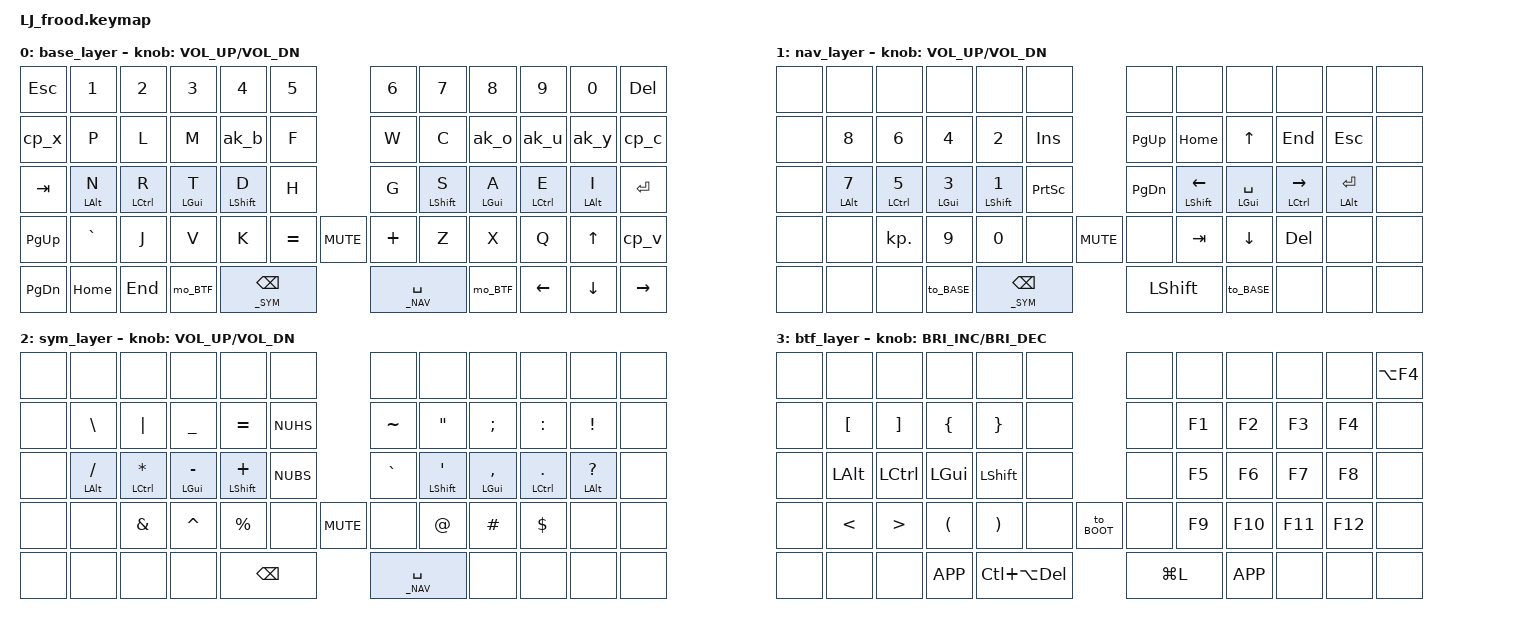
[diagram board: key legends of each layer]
/*
 * Copyright (c) 2021 The ZMK Contributors
 *
 * SPDX-License-Identifier: MIT
 */

#include <behaviors.dtsi>
#include <dt-bindings/zmk/keys.h>
// #include <dt-bindings/zmk/bt.h>
// #include <dt-bindings/zmk/outputs.h>
#include <dt-bindings/zmk/pointing.h>
#include <dt-bindings/zmk/rgb.h>
// #include <dt-bindings/zmk/ext_power.h>
#include "keypos_34keys.h"

#define _BASE    0
#define _NAV     1
#define _SYM     2
#define _BTF     3
#define _MOUS    4

#define RGB_BASE RGB_COLOR_HSB(10,100,30)
#define RGB_SYM RGB_COLOR_HSB(20,100,50)
#define RGB_NAV RGB_COLOR_HSB(40,80,50)
#define RGB_BTF RGB_COLOR_HSB(180,100,60)
#define RGB_MOUS RGB_COLOR_HSB(100,100,60)

/ {

// ------------------------- MACROS --------------------------------
    macros {
        to_BASE: to_BASE {
            compatible = "zmk,behavior-macro";
            #binding-cells = <0>;
            wait-ms = <0>;
            tap-ms = <0>;
            bindings
                = <&rgb_ug RGB_BASE>
                , <&tog _NAV>
                ;
        };

        to_NAV: to_NAV {
            compatible = "zmk,behavior-macro";
            #binding-cells = <0>;
            wait-ms = <0>;
            tap-ms = <0>;
            bindings
                = <&rgb_ug RGB_NAV>
                , <&tog _NAV>
                ;
        };

        mo_BTF: mo_BTF {
            compatible = "zmk,behavior-macro";
            #binding-cells = <0>;
            wait-ms = <0>;
            tap-ms = <0>;
            bindings
                = <&macro_tap &rgb_ug RGB_BTF>
                , <&macro_press &mo _BTF>
                , <&macro_pause_for_release>
                , <&macro_tap &rgb_ug RGB_BASE>
                , <&macro_release &mo _BTF>
                ;
        };

        mo_MOUS: mo_MOUS {
            compatible = "zmk,behavior-macro";
            #binding-cells = <0>;
            wait-ms = <0>;
            tap-ms = <0>;
            bindings
                = <&macro_tap &rgb_ug RGB_MOUS>
                , <&macro_press &mo _MOUS>
                , <&macro_pause_for_release>
                , <&macro_tap &rgb_ug RGB_BASE>
                , <&macro_release &mo _MOUS>
                ;
        };

        to_BOOT: to_BOOT {
            compatible = "zmk,behavior-macro";
            #binding-cells = <0>;
            bindings
                = <&rgb_ug RGB_COLOR_HSB(0,100,100)>
                , <&rgb_ug RGB_ON>
                , <&bootloader>
                ;
        };

        mlc_ou: macro_lc_ou {
            compatible = "zmk,behavior-macro";
            #binding-cells = <0>;
            wait-ms = <0>;
            tap-ms = <5>;
            bindings
                = <&kp O>
                , <&kp U>
                ;
        };

        // muc_the: macro_uc_the {
        //     compatible = "zmk,behavior-macro";
        //     #binding-cells = <0>;
        //     wait-ms = <0>;
        //     tap-ms = <5>;
        //     bindings
        //         = <&kp LS(T)>
        //         , <&kp H>
        //         , <&kp E>
        //         ;
        // };

        // mlc_the: macro_lc_the {
        //     compatible = "zmk,behavior-macro";
        //     #binding-cells = <0>;
        //     wait-ms = <0>;
        //     tap-ms = <5>;
        //     bindings
        //         = <&kp T>
        //         , <&kp H>
        //         , <&kp E>
        //         ;
        // };

        mlc_qu: macro_lc_qu {
            compatible = "zmk,behavior-macro";
            #binding-cells = <0>;
            wait-ms = <0>;
            tap-ms = <5>;
            bindings
                = <&kp Q>
                , <&kp U>
                ;
        };

        // mlc_gh: macro_lc_gh {
        //     compatible = "zmk,behavior-macro";
        //     #binding-cells = <0>;
        //     wait-ms = <0>;
        //     tap-ms = <5>;
        //     bindings
        //         = <&kp G>
        //         , <&kp H>
        //         ;
        // };

        // mlc_ing: macro_lc_ing {
        //     compatible = "zmk,behavior-macro";
        //     #binding-cells = <0>;
        //     wait-ms = <0>;
        //     tap-ms = <5>;
        //     bindings
        //         = <&kp I>
        //         , <&kp N>
        //         , <&kp G>
        //         ;
        // };
    };

    combos {
        compatible = "zmk,combos";
// ------------------------- LAYER COMBOS --------------------------------
        // combo_BOOT {
        //     timeout-ms = <50>;
        //     key-positions = <0 11>;
        //     bindings = <&to_BOOT>;
        // };

        // combo_BTF {
        //     timeout-ms = <50>;
        //     key-positions = <LHO RHO>;
        //     bindings = <&mo_BTF>;
        // };

        // combo_NAVR {
        //     timeout-ms = <50>;
        //     key-positions = <RMP RHI>;
        //     bindings = <&to_NAV>;
        //     layers = <_BASE>;
        // };

        // combo_BASER {
        //     timeout-ms = <50>;
        //     key-positions = <RMP RHI>;
        //     bindings = <&to_BASE>;
        //     layers = <_NAV>;
        // };

        // combo_NAV {
        //     timeout-ms = <50>;
        //     key-positions = <52 55>;
        //     bindings = <&to_NAV>;
        //     layers = <_BASE>;
        // };

        // combo_BASE {
        //     timeout-ms = <50>;
        //     key-positions = <52 55>;
        //     bindings = <&to_BASE>;
        //     layers = <_NAV>;
        // };

// ------------------------- MODS COMBOS --------------------------------
        combo_CAPS {
            timeout-ms = <50>;
            key-positions = <LTI RTI>;
            bindings = <&caps_word>;
            require-prior-idle-ms = <250>;
            layers = <_BASE>;
        };

// ------------------------- SYMBOL COMBOS --------------------------------
        combo_LPAR {
            timeout-ms = <50>;
            require-prior-idle-ms = <200>;
            key-positions = <LHI LMI>;
            bindings = <&kp LPAR>;
            layers = <_BASE _SYM>;
        };

        combo_RPAR {
            timeout-ms = <50>;
            require-prior-idle-ms = <200>;
            key-positions = <RMI RHI>;
            bindings = <&kp RPAR>;
            layers = <_BASE _SYM>;
        };

        combo_LBRC {
            timeout-ms = <50>;
            require-prior-idle-ms = <200>;
            key-positions = <LMM LHI>;
            bindings = <&kp LBRC>;
            layers = <_BASE _SYM>;
        };

        combo_RBRC {
            timeout-ms = <50>;
            require-prior-idle-ms = <200>;
            key-positions = <RMM RHI>;
            bindings = <&kp RBRC>;
            layers = <_BASE _SYM>;
        };

        combo_LBKT {
            timeout-ms = <50>;
            require-prior-idle-ms = <200>;
            key-positions = <LMR LHI>;
            bindings = <&kp LBKT>;
            layers = <_BASE _SYM>;
        };

        combo_RBKT {
            timeout-ms = <50>;
            require-prior-idle-ms = <200>;
            key-positions = <RMR RHI>;
            bindings = <&kp RBKT>;
            layers = <_BASE _SYM>;
        };

        combo_GT {
            timeout-ms = <50>;
            require-prior-idle-ms = <200>;
            key-positions = <RMP RHI>;
            bindings = <&kp GT>;
            layers = <_BASE _SYM>;
        };

        combo_LT {
            timeout-ms = <50>;
            require-prior-idle-ms = <200>;
            key-positions = <LMP LHI>;
            bindings = <&kp LT>;
            layers = <_BASE _SYM>;
        };

// ------------------------- CHARACTER COMBOS --------------------------------
        combo_QU {
            timeout-ms = <300>;
            key-positions = <RBM RBI>;
            bindings = <&mlc_qu>;
            layers = <_BASE>;
        };

        // combo_F {
        //     timeout-ms = <40>;
        //     require-prior-idle-ms = <125>;
        //     key-positions = <LTI LTM>;
        //     bindings = <&kp F>;
        //     layers = <_BASE>;
        // };

        // combo_H {
        //     timeout-ms = <40>;
        //     require-prior-idle-ms = <125>;
        //     key-positions = <LMI LMM>;
        //     bindings = <&kp H>;
        //     layers = <_BASE>;
        // };

        // combo_G {
        //     timeout-ms = <40>;
        //     require-prior-idle-ms = <125>;
        //     key-positions = <RMM RMI>;
        //     bindings = <&kp G>;
        //     layers = <_BASE>;
        // };

        // combo_W {
        //     timeout-ms = <40>;
        //     require-prior-idle-ms = <125>;
        //     key-positions = <RTI RTM>;
        //     bindings = <&kp W>;
        //     layers = <_BASE>;
        // };
    };

    behaviors {
// ------------------------- ENCODER -----------------------------------
        rot_kp: sensor_rotate_kp {
            compatible = "zmk,behavior-sensor-rotate-var";
            #sensor-binding-cells = <2>;
            bindings = <&kp>, <&kp>;
        };

// ------------------------- TAP-DANCES --------------------------------
        cp_c: cp_c {
            compatible = "zmk,behavior-tap-dance";
            #binding-cells = <0>;
            tapping-term-ms = <400>;
            bindings = <&kp LC(C)>, <&kp LG(C)>;
        };

        cp_v: cp_v {
            compatible = "zmk,behavior-tap-dance";
            #binding-cells = <0>;
            tapping-term-ms = <400>;
            bindings = <&kp LC(V)>, <&kp LG(V)>;
        };

        cp_x: cp_x {
            compatible = "zmk,behavior-tap-dance";
            #binding-cells = <0>;
            tapping-term-ms = <400>;
            bindings = <&kp LC(X)>, <&kp LG(X)>;
        };

        app_lock: app_lock {
            compatible = "zmk,behavior-tap-dance";
            #binding-cells = <0>;
            tapping-term-ms = <400>;
            bindings = <&kp K_APP>, <&kp LG(L)>, <&kp LC(LA(DEL))>;
        };

// ------------------------- HOLD-TAPS --------------------------------
        /* left-hand HRMs */
        hml: hrm_left {
            compatible = "zmk,behavior-hold-tap";
            #binding-cells = <2>;
            flavor = "balanced";
            tapping-term-ms = <300>;
            quick-tap-ms = <170>;                // repeat on tap-into-hold
            require-prior-idle-ms = <250>;
            bindings = <&kp>, <&kp>;
            hold-trigger-key-positions = <KEYS_R THUMBS>;
            hold-trigger-on-release;             // delay positional check until key-release
        };

        /* right-hand HRMs */
        hmr: hrm_right {
            compatible = "zmk,behavior-hold-tap";
            #binding-cells = <2>;
            flavor = "balanced";
            tapping-term-ms = <300>;
            quick-tap-ms = <170>;                // repeat on tap-into-hold
            require-prior-idle-ms = <250>;
            bindings = <&kp>, <&kp>;
            hold-trigger-key-positions = <KEYS_L THUMBS>;
            hold-trigger-on-release;             // delay positional check until key-release
        };

        rml: akr_left {
            compatible = "zmk,behavior-hold-tap";
            #binding-cells = <2>;
            flavor = "balanced";
            tapping-term-ms = <300>;
            quick-tap-ms = <170>;                // repeat on tap-into-hold
            require-prior-idle-ms = <250>;
            bindings = <&kp>, <&ak_r>;
            hold-trigger-key-positions = <KEYS_R THUMBS>;
            hold-trigger-on-release;             // delay positional check until key-release
        };

        asl: aks_left {
            compatible = "zmk,behavior-hold-tap";
            #binding-cells = <2>;
            flavor = "balanced";
            tapping-term-ms = <300>;
            quick-tap-ms = <170>;                // repeat on tap-into-hold
            require-prior-idle-ms = <120>;
            bindings = <&kp>, <&ak_d>;
            hold-trigger-key-positions = <KEYS_R THUMBS>;
            hold-trigger-on-release;             // delay positional check until key-release
        };

        hsl: hrs_left {
            compatible = "zmk,behavior-hold-tap";
            #binding-cells = <2>;
            flavor = "balanced";
            tapping-term-ms = <300>;
            quick-tap-ms = <170>;                // repeat on tap-into-hold
            require-prior-idle-ms = <120>;
            bindings = <&kp>, <&kp>;
            hold-trigger-key-positions = <KEYS_R THUMBS>;
            hold-trigger-on-release;             // delay positional check until key-release
        };

        hsr: hrs_right {
            compatible = "zmk,behavior-hold-tap";
            #binding-cells = <2>;
            flavor = "balanced";
            tapping-term-ms = <300>;
            quick-tap-ms = <170>;                // repeat on tap-into-hold
            require-prior-idle-ms = <120>;
            bindings = <&kp>, <&kp>;
            hold-trigger-key-positions = <KEYS_L THUMBS>;
            hold-trigger-on-release;             // delay positional check until key-release
        };

        bst: backspace-tap {
            compatible = "zmk,behavior-hold-tap";
            #binding-cells = <2>;
            flavor = "balanced";
            tapping-term-ms = <300>;
            quick-tap-ms = <200>;
            //require-prior-idle-ms = <100>;
            bindings = <&mo>, <&kp>;
        };

        spt: space-tap {
            compatible = "zmk,behavior-hold-tap";
            #binding-cells = <2>;
            flavor = "balanced";
            tapping-term-ms = <300>;
            quick-tap-ms = <200>;
            //require-prior-idle-ms = <100>;
            bindings = <&mo>, <&kp>;
        };

        btf_nav: BTF-NAV-lock {
            compatible = "zmk,behavior-hold-tap";
            #binding-cells = <2>;
            flavor = "hold-preferred";
            tapping-term-ms = <250>;
            quick-tap-ms = <0>;
            //require-prior-idle-ms = <100>;
            bindings = <&mo_BTF>, <&to_NAV>;
        };

// ----------------------- ADAPTIVE-KEYS ------------------------------- 
        ak_d: ak_d {
            compatible = "zmk,behavior-adaptive-key";
            #binding-cells = <0>;
            bindings = <&kp D>;

            akt_th { trigger-keys = <T>; max-prior-idle-ms = <250>; bindings = <&kp H>; };
            akt_bh { trigger-keys = <B>; max-prior-idle-ms = <300>; bindings = <&kp H>; };
            akt_ph { trigger-keys = <P>; max-prior-idle-ms = <300>; bindings = <&kp H>; };
            akt_ch { trigger-keys = <C>; max-prior-idle-ms = <300>; bindings = <&kp H>; };
            akt_wh { trigger-keys = <W>; max-prior-idle-ms = <300>; bindings = <&kp H>; };
            akt_sh { trigger-keys = <S>; max-prior-idle-ms = <300>; bindings = <&kp H>; };
            akt_gh { trigger-keys = <G>; max-prior-idle-ms = <300>; bindings = <&kp H>; };
        };

        ak_b: ak_b {
            compatible = "zmk,behavior-adaptive-key";
            #binding-cells = <0>;
            bindings = <&kp B>;

            akt_sc { trigger-keys = <S>; max-prior-idle-ms = <300>; bindings = <&kp C>; };
            akt_pr { trigger-keys = <P>; max-prior-idle-ms = <300>; bindings = <&kp R>; };
            akt_tv { trigger-keys = <T>; max-prior-idle-ms = <300>; bindings = <&kp V>; };
        };

        // ak_j: ak_j {
        //     compatible = "zmk,behavior-adaptive-key";
        //     #binding-cells = <0>;
        //     bindings = <&kp J>;

        //     akt_ws { trigger-keys = <W>; max-prior-idle-ms = <300>; bindings = <&kp S>; };
        //     akt_gs { trigger-keys = <G>; max-prior-idle-ms = <300>; bindings = <&kp S>; };
        //     akt_rl { trigger-keys = <R>; max-prior-idle-ms = <300>; bindings = <&kp L>; };
        // };

        // ak_x: ak_x {
        //     compatible = "zmk,behavior-adaptive-key";
        //     #binding-cells = <0>;
        //     bindings = <&kp X>;

        //     akt_rl { trigger-keys = <R>; max-prior-idle-ms = <300>; bindings = <&kp L>; };
        //     akt_kd { trigger-keys = <K>; max-prior-idle-ms = <300>; bindings = <&kp D>; };
        // };

        ak_o: ak_o {
            compatible = "zmk,behavior-adaptive-key";
            #binding-cells = <0>;
            bindings = <&kp O>;

            akt_uo { trigger-keys = <U>; max-prior-idle-ms = <125>; bindings = <&kp 0>; };
        };

        ak_u: ak_u {
            compatible = "zmk,behavior-adaptive-key";
            #binding-cells = <0>;
            bindings = <&kp U>;

            akt_you { trigger-keys = <Y>; max-prior-idle-ms = <300>; bindings = <&kp O &kp U>; };
        };

        ak_y: ak_y {
            compatible = "zmk,behavior-adaptive-key";
            #binding-cells = <0>;
            bindings = <&kp Y>;

            akt_uo { trigger-keys = <U>; max-prior-idle-ms = <300>; bindings = <&kp E>; };
        };

        ak_r: ak_r {
            compatible = "zmk,behavior-adaptive-key";
            #binding-cells = <0>;
            bindings = <&kp R>;

            akt_ng { trigger-keys = <N>; max-prior-idle-ms = <300>; bindings = <&kp G>; };
        };

// ------------------------- MOD-MORPHS --------------------------------
        // mm_you: mm_you {
        //     compatible = "zmk,behavior-mod-morph";
        //     #binding-cells = <0>;
        //     bindings = <&mlc_you>, <&muc_you>;
        //     mods = <(MOD_LSFT)>;
        // };

        // mm_the: mm_the {
        //     compatible = "zmk,behavior-mod-morph";
        //     #binding-cells = <0>;
        //     bindings = <&mlc_the>, <&muc_the>;
        //     mods = <(MOD_LSFT)>;
        // };
    };

    keymap {
        compatible = "zmk,keymap";

                base_layer {
// ----------------------------------------------------------------------------------
// | ESC |  1  |  2  |  3  |  4  |  5  |        |  6  |  7  |  8  |  9  |  0  | DEL |
// | cut |  P  |  L  |  M  |  B  |  F  |        |  W  |  C  |  O  |  U  |  Y  | cpy |
// | TAB |  N  |  R  |  T  |  D  |  H  |        |  G  |  S  |  A  |  E  |  I  | RET |
// | pUP | ` ~ |  J  |  V  |  K  |  =  |  MUTE  |  +  |  Z  |  X  |  Q  | UP  | pst |
// | pDN | HOM | END |_BTF |_SYM(BSPC) |        | _NAV(SPC) |_BTF | LEFT| DOWN| RGHT|
                        bindings = <
   &kp ESC    &kp N1       &kp N2       &kp N3      &kp N4       &kp N5                 &kp N6   &kp N7       &kp N8      &kp N9       &kp N0      &kp DEL
   &cp_x      &kp P        &kp L        &kp M       &ak_b        &kp F                  &kp W    &kp C        &ak_o       &ak_u        &ak_y       &cp_c
   &kp TAB    &hml LALT N  &rml LCTRL R &hml LGUI T &asl LSHFT D &kp H                  &kp G    &hsr LSHFT S &hmr LGUI A &hmr LCTRL E &hmr LALT I &kp RET
   &kp PG_UP  &kp GRAVE    &kp J        &kp V       &kp K        &kp EQUAL  &kp C_MUTE  &kp PLUS &kp Z        &kp X       &kp Q        &kp UP      &cp_v
   &kp PG_DN  &kp HOME     &kp END      &mo_BTF          &bst _SYM BSPC                     &spt _NAV SPACE   &mo_BTF     &kp LEFT     &kp DOWN    &kp RIGHT
                        >;
                        sensor-bindings = <&rot_kp C_VOL_UP C_VOL_DN>;
                };

                nav_layer {
// -------------------------------------------------------------------------------------
// |     |     |     |     |     |     |        |     |      |      |      |     |     |
// |     |  8  |  6  |  4  |  2  | INS |        | pUP | HOME |  UP  | END  | ESC |     |
// |     |  7  |  5  |  3  |  1  | PSC |        | pDN | LEFT | SPC  | RGHT | RET |     |
// |     |     | . , |  9  |  0  |     |  MUTE  |     | TAB  | DOWN | DEL  |     |     |
// |     |     |     |_BASE|_SYM(BSPC) |        |    SHFT    |_BASE |      |     |     |
                        bindings = <
   &none   &none        &none         &none        &none         &none                &none     &none           &none           &none            &none         &none
   &none   &kp N8       &kp N6        &kp N4       &kp N2        &kp INS              &kp PG_UP &kp HOME        &kp UP          &kp END          &kp ESC       &none
   &none   &hml LALT N7 &hml LCTRL N5 &hml LGUI N3 &hsl LSHFT N1 &kp PSCRN            &kp PG_DN &hsr LSHFT LEFT &hmr LGUI SPACE &hmr LCTRL RIGHT &hmr LALT RET &none
   &none   &none        &kp KP_DOT    &kp N9       &kp N0        &none     &kp C_MUTE &none     &kp TAB         &kp DOWN        &kp DEL          &none         &none
   &none   &none        &none         &to_BASE          &bst _SYM BSPC                      &kp LSHFT           &to_BASE        &none            &none         &none
                        >;
                        sensor-bindings = <&rot_kp C_VOL_UP C_VOL_DN>;
                };
                
                sym_layer {
// --------------------------------------------------------------------------------
// |     |     |     |     |     |     |      |     |     |     |     |     |     |
// |     |  \  |  |  |  _  |  =  |  \  |      |  ~  |  "  |  ;  |  :  |  !  |     |
// |     |  /  |  *  |  -  |  +  |  §  |      |  `  |  '  |  ,  |  .  |  ?  |     |
// |     |     |  &  |  ^  |  %  |     | MUTE |     |  @  |  #  |  $  |     |     |
// |     |     |     |     |   BSPC    |      | _NAV(SPC) |     |     |     |     |
                        bindings = <
   &none   &none           &none           &none           &none           &none               &none     &none          &none           &none          &none           &none
   &none   &kp BSLH        &kp PIPE        &kp UNDER       &kp EQUAL       &kp NUHS            &kp TILDE &kp DQT        &kp SEMI        &kp COLON      &kp EXCL        &none
   &none   &hml LALT SLASH &hml LCTRL STAR &hml LGUI MINUS &hsl LSHFT PLUS &kp NUBS            &kp GRAVE &hsr LSHFT SQT &hmr LGUI COMMA &hmr LCTRL DOT &hmr LALT QMARK &none
   &none   &none           &kp AMPS        &kp CARET       &kp PRCNT       &none    &kp C_MUTE &none     &kp AT         &kp HASH        &kp DLLR       &none           &none
   &none   &none           &none           &none                   &kp BSPC                         &spt _NAV SPACE     &none           &none          &none           &none
                        >;
                        sensor-bindings = <&rot_kp C_VOL_UP C_VOL_DN>;
                };
                
                btf_layer {
// --------------------------------------------------------------------------------
// |     |     |     |     |     |     |      |     |     |     |     |     | CLS |
// |     |  [  |  ]  |  {  |  }  |     |      |     | F1  | F2  | F3  | F4  |     |
// |     | ALT | CTL | GUI | SFT |     |      |     | F5  | F6  | F7  | F8  |     |
// |     |  <  |  >  |  (  |  )  |     | BOOT |     | F9  | F10 | F11 | F12 |     |
// |     |     |     | APP |   RESET   |      |  LOCK SCR | APP |     |     |     |
                        bindings = <
   &none  &none     &none      &none      &none        &none                &none  &none   &none     &none    &none    &kp LA(F4)
   &none  &kp LBKT  &kp RBKT   &kp LBRC   &kp RBRC     &none                &none  &kp F1  &kp F2    &kp F3   &kp F4   &none                
   &none  &kp LALT  &kp LCTRL  &kp LGUI   &kp LSHFT    &none                &none  &kp F5  &kp F6    &kp F7   &kp F8   &none                
   &none  &kp LT    &kp GT     &kp LPAR   &kp RPAR     &none    &to_BOOT    &none  &kp F9  &kp F10   &kp F11  &kp F12  &none    
   &none  &none     &none      &kp K_APP  &kp LC(LA(DEL))                   &kp LG(L)    &kp K_APP &none    &none    &none
                        >;
                        sensor-bindings = <&rot_kp C_BRI_INC C_BRI_DEC>;
                };   

                extra1 {
                        status = "reserved";
                };

                extra2 {
                        status = "reserved";
                };
             
    };
};
